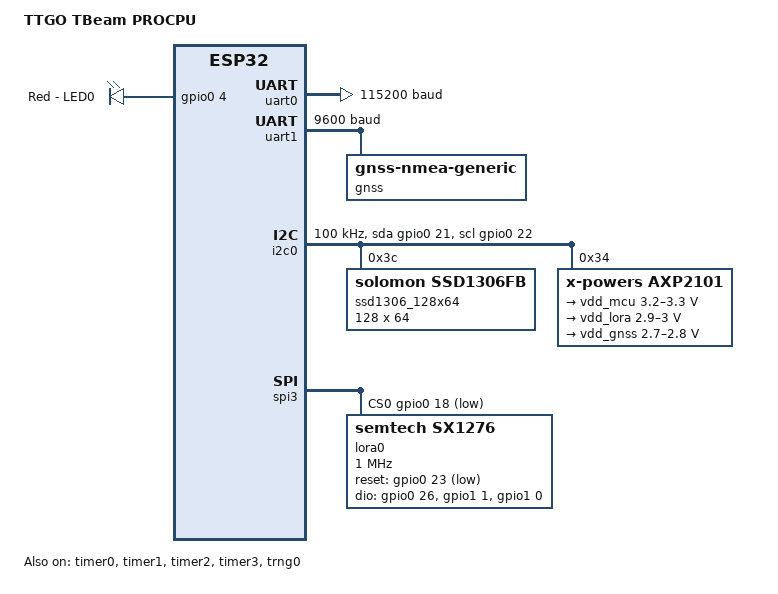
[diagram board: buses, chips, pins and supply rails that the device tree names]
/*
 * Copyright (c) 2024 Lothar Felten <lothar.felten@gmail.com>
 *
 * SPDX-License-Identifier: Apache-2.0
 */
/dts-v1/;

#include <espressif/esp32/esp32_pico_d4.dtsi>
#include "ttgo_tbeam-pinctrl.dtsi"
#include <zephyr/dt-bindings/input/input-event-codes.h>
#include <espressif/partitions_0x1000_amp.dtsi>

/ {
	model = "TTGO TBeam PROCPU";
	compatible = "lilygo,ttgo-tbeam";

	aliases {
		led0 = &red_led;
		uart-0 = &uart0;
		i2c-0 = &i2c0;
		watchdog0 = &wdt0;
		lora0 = &lora0;
		gnss = &gnss;
		regulator0 = &axp2101;
	};

	chosen {
		zephyr,sram = &sram1;
		zephyr,console = &uart0;
		zephyr,shell-uart = &uart0;
		zephyr,flash = &flash0;
		zephyr,code-partition = &slot0_partition;
		zephyr,display = &ssd1306_128x64;
	};

	leds {
		compatible = "gpio-leds";

		red_led: led_0 {
			gpios = <&gpio0 4 GPIO_ACTIVE_HIGH>;
			label = "Red - LED0";
		};
	};
};

&uart0 {
	status = "okay";
	current-speed = <115200>;
	pinctrl-0 = <&uart0_default>;
	pinctrl-names = "default";
};

&uart1 {
	status = "okay";
	current-speed = <9600>;
	pinctrl-0 = <&uart1_default>;
	pinctrl-names = "default";

	gnss: gnss-nmea-generic {
		compatible = "gnss-nmea-generic";
	};
};

&gpio0 {
	status = "okay";
};

&gpio1 {
	status = "okay";
};

&i2c0 {
	status = "okay";
	clock-frequency = <I2C_BITRATE_STANDARD>;
	sda-gpios = <&gpio0 21 GPIO_OPEN_DRAIN>;
	scl-gpios = <&gpio0 22 GPIO_OPEN_DRAIN>;
	pinctrl-0 = <&i2c0_default>;
	pinctrl-names = "default";

	ssd1306_128x64: ssd1306@3c {
		compatible = "solomon,ssd1306fb";
		reg = <0x3c>;
		width = <128>;
		height = <64>;
		segment-offset = <0>;
		page-offset = <0>;
		display-offset = <0>;
		multiplex-ratio = <63>;
		segment-remap;
		com-invdir;
		prechargep = <0x22>;
	};

	axp2101: axp2101@34 {
		status = "okay";
		reg = <0x34>;
		compatible = "x-powers,axp2101";

		regulator {
			compatible = "x-powers,axp2101-regulator";

			vdd_mcu: DCDC1 {
				regulator-min-microvolt = <3200000>;
				regulator-max-microvolt = <3300000>;
				regulator-boot-on;
				regulator-always-on;
			};

			vdd_lora: ALDO2 {
				regulator-min-microvolt = <2900000>;
				regulator-max-microvolt = <3000000>;
				regulator-boot-on;
				regulator-always-on;
			};

			vdd_gnss: ALDO3 {
				regulator-min-microvolt = <2700000>;
				regulator-max-microvolt = <2800000>;
				regulator-boot-on;
			};
		};

		charger: charger {
			compatible = "x-powers,axp2101-charger";
			charge-term-current-microamp = <25000>;
			constant-charge-current-max-microamp = <1000000>;
			constant-charge-voltage-max-microvolt = <4200000>;
		};

		fuel_gauge: fuel_gauge {
			compatible = "x-powers,axp2101-fuel-gauge";
		};
	};
};

&spi3 {
	#address-cells = <1>;
	#size-cells = <0>;
	status = "okay";
	pinctrl-0 = <&spim3_default>;
	pinctrl-names = "default";
	cs-gpios = <&gpio0 18 GPIO_ACTIVE_LOW>;

	lora0: lora@0 {
		compatible = "semtech,sx1276";
		reg = <0>;
		reset-gpios = <&gpio0 23 GPIO_ACTIVE_LOW>;
		dio-gpios =
			    /* SX1276 D0 -> GPIO26 */
			    <&gpio0 26 (GPIO_PULL_DOWN | GPIO_ACTIVE_HIGH)>,
			    /* SX1276 D1 -> GPIO33 */
			    <&gpio1 1 (GPIO_PULL_DOWN | GPIO_ACTIVE_HIGH)>,
			    /* SX1276 D2 -> GPIO32 */
			    <&gpio1 0 (GPIO_PULL_DOWN | GPIO_ACTIVE_HIGH)>;
		spi-max-frequency = <1000000>;
		power-amplifier-output = "pa-boost";
	};
};

&timer0 {
	status = "okay";
};

&timer1 {
	status = "okay";
};

&timer2 {
	status = "okay";
};

&timer3 {
	status = "okay";
};

&trng0 {
	status = "okay";
};
